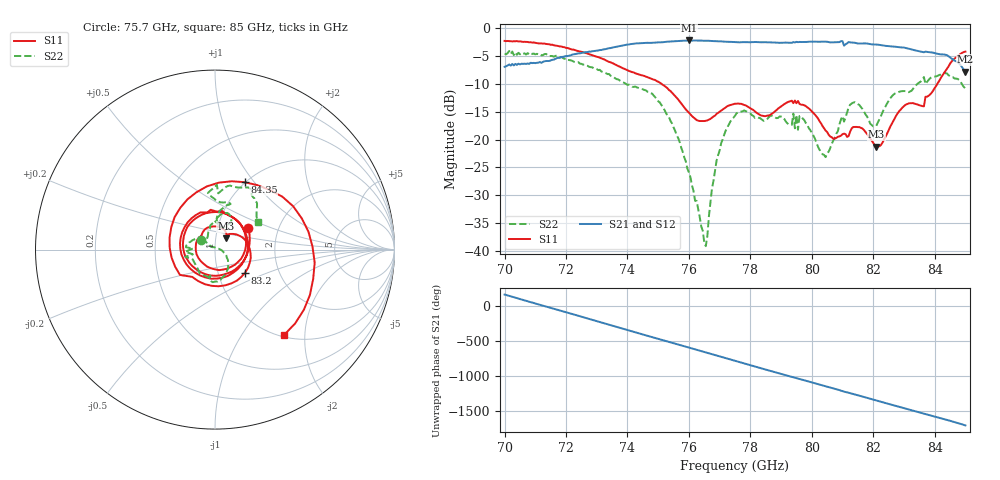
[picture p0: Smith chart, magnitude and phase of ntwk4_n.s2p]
! Source: https://github.com/scikit-rf/scikit-rf/blob/950534a5928d5c99e3fea2beaec7d82519800b0c/skrf/tests/ntwk4_n.s2p
! License: BSD-3-Clause
! RsaToolbox (C) 2015 Rohde & Schwarz America
! Number of points: 301
! Number of ports: 2
! Balanced ports?: No
# Hz S RI R 50
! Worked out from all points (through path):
!   301 points, 70 GHz to 85 GHz, reference 50 ohm
!   highest |S21| = -2.27 dB at 76 GHz (marker M1); lowest = -7.8 dB at 85 GHz (marker M2)
!   lowest |S11| = -21.3 dB at 82.1 GHz (marker M3), VSWR 1.19, Z = 55.8 + j7.04 ohm
!   |S11| at or under -10 dB: 75.09 GHz to 84.09 GHz (8.997 GHz wide, 11.3 % of centre)
!   |S22| runs from -39.1 to -4.1 dB; largest |S21 - S12| = 0
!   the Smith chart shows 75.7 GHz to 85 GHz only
!   S11 on the Smith chart (normalised r, x): 75.7 GHz: 1.40, +0.35; 83.2 GHz: 1.35, -0.36; 84.35 GHz: 0.99, +0.90; 85 GHz: 1.03, -1.57
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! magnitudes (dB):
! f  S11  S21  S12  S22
! 70 GHz  -2.4  -7.0  -7.0  -4.6
! 72.5 GHz  -4.3  -4.5  -4.5  -6.5
! 75 GHz  -9.7  -2.6  -2.6  -13.2
! 75.7 GHz  -13.2  -2.4  -2.4  -20.5
! 76 GHz  -15.2  -2.3  -2.3  -25.9
! 76.55 GHz  -16.6  -2.3  -2.3  -39.1
! 76.9 GHz  -15.4  -2.4  -2.4  -23.8
! 77.5 GHz  -13.6  -2.6  -2.6  -15.8
! 78.5 GHz  -15.8  -2.6  -2.6  -16.6
! 79.35 GHz  -13.1  -2.7  -2.7  -17.4
! 79.4 GHz  -13.5  -2.6  -2.6  -15.4
! 79.45 GHz  -13.0  -2.6  -2.6  -18.0
! 79.65 GHz  -13.8  -2.6  -2.6  -15.8
! 80 GHz  -15.0  -2.5  -2.5  -18.8
! 80.45 GHz  -18.4  -2.5  -2.5  -23.2
! 81.4 GHz  -17.8  -2.7  -2.7  -13.3
! 82.1 GHz  -21.3  -3.0  -3.0  -17.6
! 82.5 GHz  -18.4  -3.3  -3.3  -13.1
! 83.2 GHz  -13.5  -3.8  -3.8  -11.4
! 83.65 GHz  -14.1  -4.4  -4.4  -8.8
! 84.35 GHz  -7.7  -4.8  -4.8  -8.1
! 85 GHz  -4.3  -7.8  -7.8  -10.9
